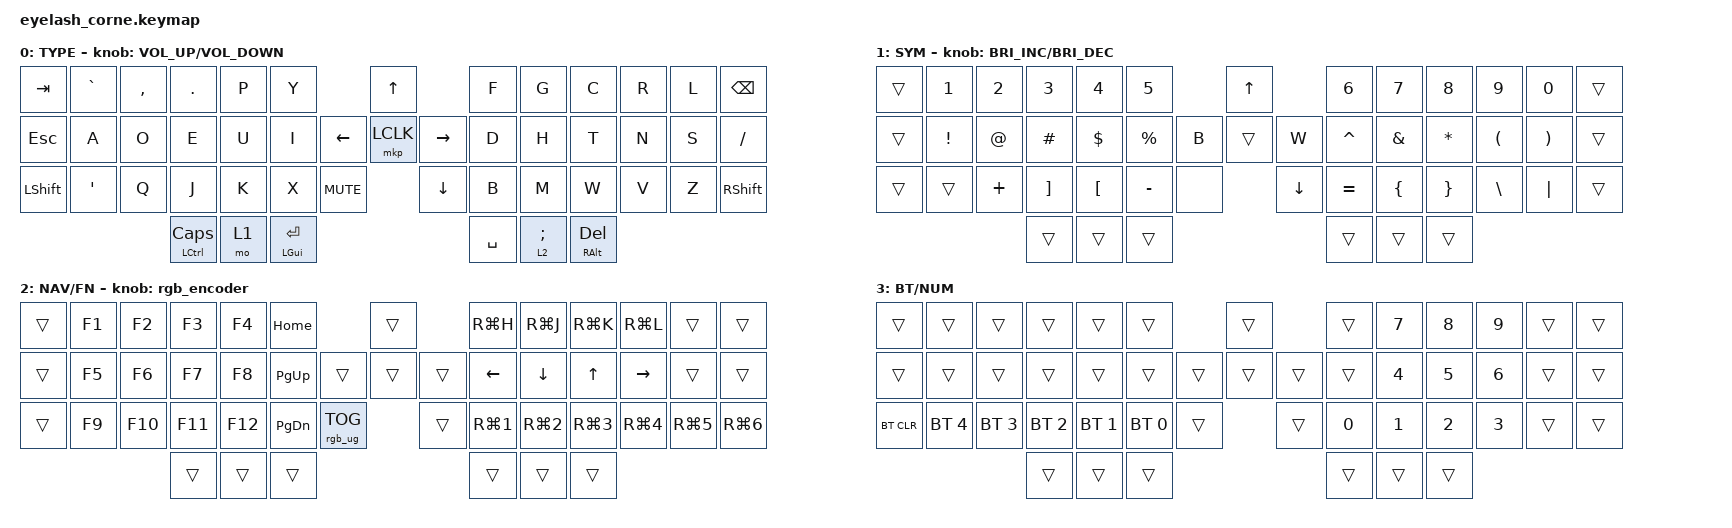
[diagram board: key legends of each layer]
#define ZMK_POINTING_DEFAULT_MOVE_VAL 1200  // 600
#define ZMK_POINTING_DEFAULT_SCRL_VAL 25   // 10

#include <input/processors.dtsi>
#include <zephyr/dt-bindings/input/input-event-codes.h>
#include <behaviors.dtsi>
#include <dt-bindings/zmk/backlight.h>
#include <dt-bindings/zmk/bt.h>
#include <dt-bindings/zmk/keys.h>
#include <dt-bindings/zmk/pointing.h>
#include <dt-bindings/zmk/rgb.h>

&mmv_input_listener { input-processors = <&zip_xy_scaler 2 1>; };

&msc_input_listener { input-processors = <&zip_scroll_scaler 2 1>; };

&msc {
    acceleration-exponent = <1>;      // 0
    time-to-max-speed-ms = <100>;       // 300
    delay-ms = <0>;                   // 0
};

&mmv {
    time-to-max-speed-ms = <500>;
    acceleration-exponent = <1>;
    trigger-period-ms = <16>;
};

&lt { tapping-term-ms = <150>; };

/ {
    behaviors {
        td0: td0 {
            compatible = "zmk,behavior-tap-dance";
            display-name = "Shift/Caps Lock Tap Dance";
            #binding-cells = <0>;
            bindings = <&kp LEFT_SHIFT>, <&kp CAPS>;
        };

        test_scroll: test_scroll {
            compatible = "zmk,behavior-sensor-rotate";
            label = "TEST_SCROLL";
            #sensor-binding-cells = <0>;
            bindings = <&msc SCRL_DOWN>, <&msc SCRL_UP>;

            tap-ms = <500>;
        };

        bl_test: bl_test {
            compatible = "zmk,behavior-sensor-rotate";
            label = "BL_TEST";
            #sensor-binding-cells = <0>;
            bindings = <&bl BL_INC>, <&bl BL_DEC>;
        };
    };

    rgb_encoder: rgb_encoder {
        compatible = "zmk,behavior-sensor-rotate";
        #sensor-binding-cells = <0>;
        bindings = <&rgb_ug RGB_BRI>, <&rgb_ug RGB_BRD>;
    };

    combos {
        compatible = "zmk,combos";

        bootloader_left {
            bindings = <&bootloader>;
            key-positions = <0 28>;
            layers = <0>;
        };

        bootloader_right {
            bindings = <&bootloader>;
            key-positions = <12 41>;
            layers = <0>;
        };

        reset_left {
            bindings = <&sys_reset>;
            key-positions = <42 0>;
            layers = <0>;
        };

        reset_right {
            bindings = <&sys_reset>;
            key-positions = <47 12>;
            layers = <0>;
        };
    };

    keymap {
        compatible = "zmk,keymap";

        type_layer {
            display-name = "TYPE";
            bindings = <
&kp TAB         &kp GRAVE       &kp COMMA  &kp PERIOD          &kp P  &kp Y                                   &kp UP                &kp F      &kp G       &kp C            &kp R  &kp L  &kp BACKSPACE
&kp ESCAPE      &kp A           &kp O      &kp E               &kp U  &kp I                         &kp LEFT  &mkp LCLK  &kp RIGHT  &kp D      &kp H       &kp T            &kp N  &kp S  &kp SLASH
&kp LEFT_SHIFT  &kp APOSTROPHE  &kp Q      &kp J               &kp K  &kp X           &kp C_MUTE              &kp DOWN              &kp B      &kp M       &kp W            &kp V  &kp Z  &kp RIGHT_SHIFT
                                           &mt LCTRL CAPSLOCK  &mo 1  &mt LGUI ENTER                                                &kp SPACE  &lt 2 SEMI  &mt RALT DELETE
            >;

            sensor-bindings = <&inc_dec_kp C_VOLUME_UP C_VOLUME_DOWN>;
        };

        num_layer {
            display-name = "SYM";
            bindings = <
&trans  &kp NUMBER_1     &kp N2       &kp N3             &kp N4            &kp N5                       &kp UP                 &kp N6     &kp N7          &kp N8           &kp N9                &kp N0                 &trans
&trans  &kp EXCLAMATION  &kp AT_SIGN  &kp POUND          &kp DOLLAR        &kp PERCENT           &kp B  &trans          &kp W  &kp CARET  &kp AMPERSAND   &kp ASTERISK     &kp LEFT_PARENTHESIS  &kp RIGHT_PARENTHESIS  &trans
&trans  &trans           &kp PLUS     &kp RIGHT_BRACKET  &kp LEFT_BRACKET  &kp MINUS    &none           &kp DOWN_ARROW         &kp EQUAL  &kp LEFT_BRACE  &kp RIGHT_BRACE  &kp BACKSLASH         &kp PIPE               &trans
                                      &trans             &trans            &trans                                              &trans     &trans          &trans
            >;

            sensor-bindings = <&inc_dec_kp C_BRIGHTNESS_INC C_BRIGHTNESS_DEC>;
        };

        nav_layer {
            display-name = "NAV/FN";
            bindings = <
&trans  &kp F1  &kp F2   &kp F3   &kp F4   &kp HOME                                  &trans          &kp RG(H)         &kp RG(J)         &kp RG(K)         &kp RG(L)         &trans            &trans
&trans  &kp F5  &kp F6   &kp F7   &kp F8   &kp PAGE_UP                       &trans  &trans  &trans  &kp LEFT          &kp DOWN          &kp UP            &kp RIGHT         &trans            &trans
&trans  &kp F9  &kp F10  &kp F11  &kp F12  &kp PAGE_DOWN  &rgb_ug RGB_TOG            &trans          &kp RG(NUMBER_1)  &kp RG(NUMBER_2)  &kp RG(NUMBER_3)  &kp RG(NUMBER_4)  &kp RG(NUMBER_5)  &kp RG(NUMBER_6)
                         &trans   &trans   &trans                                                    &trans            &trans            &trans
            >;

            sensor-bindings = <&rgb_encoder>;
        };

        bt_layer {
            bindings = <
&trans      &trans        &trans        &trans        &trans        &trans                          &trans          &trans  &kp N7  &kp N8  &kp N9  &trans  &trans
&trans      &trans        &trans        &trans        &trans        &trans                  &trans  &trans  &trans  &trans  &kp N4  &kp N5  &kp N6  &trans  &trans
&bt BT_CLR  &bt BT_SEL 4  &bt BT_SEL 3  &bt BT_SEL 2  &bt BT_SEL 1  &bt BT_SEL 0  &trans            &trans          &kp N0  &kp N1  &kp N2  &kp N3  &trans  &trans
                                        &trans        &trans        &trans                                          &trans  &trans  &trans
            >;

            label = "BT/NUM";
        };
    };

    conditional_layers {
        compatible = "zmk,conditional-layers";

        bt_activate {
            if-layers = <1 2>;
            then-layer = <3>;
        };
    };
};
